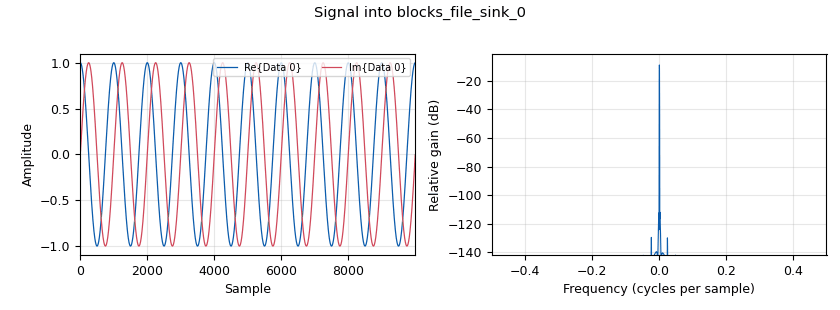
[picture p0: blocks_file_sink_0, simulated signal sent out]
options:
  parameters:
    author: Bauti
    generate_options: qt_gui
    id: TP1f
    output_language: python
    title: Not titled yet
  states: {}

blocks:
- name: samp_rate
  id: variable
  parameters:
    value: 1e6
  states: {}
- name: analog_sig_source_x_0
  id: analog_sig_source_x
  parameters:
    amp: '1'
    freq: '1000'
    offset: '0'
    phase: '0'
    samp_rate: samp_rate
    type: complex
    waveform: analog.GR_COS_WAVE
  states: {}
- name: blocks_file_sink_0
  id: blocks_file_sink
  parameters:
    append: 'True'
    file: C:\Users\Bauti\Desktop\Facu\Radiodifusion\Radiodifusion\G2\Guia Resuelta\TP1f_file_gen
    type: complex
  states: {}
- name: blocks_throttle2_0
  id: blocks_throttle2
  parameters:
    samples_per_second: samp_rate
    type: complex
  states: {}

connections:
- [analog_sig_source_x_0, '0', blocks_throttle2_0, '0']
- [blocks_throttle2_0, '0', blocks_file_sink_0, '0']

metadata:
  file_format: 1
  grc_version: 3.10.12.0
